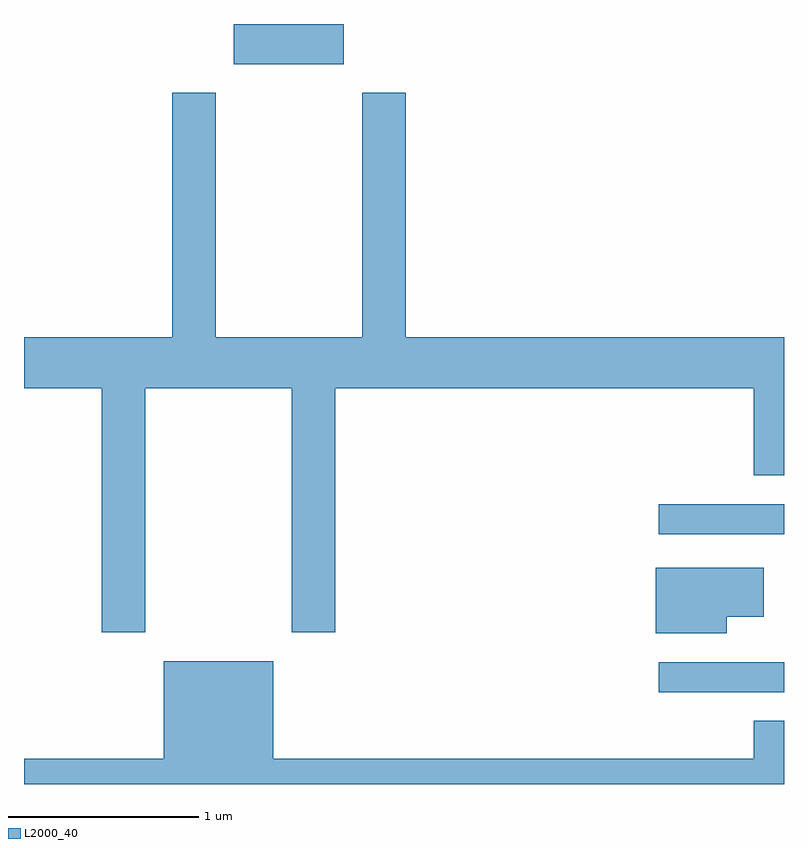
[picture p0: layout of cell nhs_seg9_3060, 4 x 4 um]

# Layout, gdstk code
import gdstk
lib = gdstk.Library(unit=1e-6, precision=1e-09)
def R(c, l, rs):  # rectangles x0, y0, x1, y1
    for r in rs: c.add(gdstk.rectangle(r[:2], r[2:], *l))
def P(c, l, *ps):  # polygons
    for p in ps: c.add(gdstk.Polygon(p, *l))
L2000_40 = (2000, 40)

nhs_seg9_3060 = lib.new_cell('nhs_seg9_3060')
R(nhs_seg9_3060, L2000_40, [(278.953,1956.916,279.611,1957.074), (278.953,1957.746,279.611,1957.904), (276.716,1960.221,277.294,1960.432)])
P(nhs_seg9_3060, L2000_40, [(276.249,1958.516),(277.021,1958.516),(277.021,1957.231),(277.249,1957.231),(277.249,1958.516),(279.451,1958.516),(279.451,1958.056),(279.611,1958.056),(279.611,1958.784),(277.619,1958.784),(277.619,1960.069),(277.391,1960.069),(277.391,1958.784),(276.619,1958.784),(276.619,1960.069),(276.391,1960.069),(276.391,1958.784),(275.611,1958.784),(275.611,1958.516),(276.021,1958.516),(276.021,1957.231),(276.249,1957.231)],
  [(279.309,1957.311),(279.504,1957.311),(279.504,1957.569),(278.936,1957.569),(278.936,1957.226),(279.309,1957.226)],
  [(279.611,1956.764),(279.451,1956.764),(279.451,1956.564),(276.924,1956.564),(276.924,1957.079),(276.346,1957.079),(276.346,1956.564),(275.611,1956.564),(275.611,1956.432),(279.611,1956.432)])

lib.write_gds('nhs_seg9_3060.gds')
